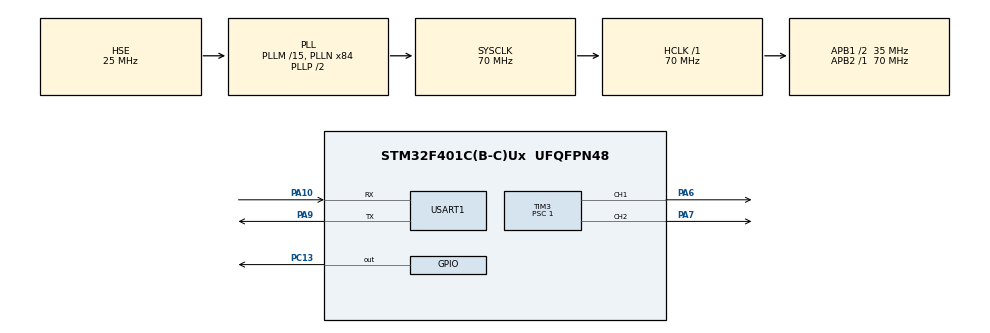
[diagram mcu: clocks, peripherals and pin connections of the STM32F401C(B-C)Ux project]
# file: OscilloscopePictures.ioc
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Mcu.Family=STM32F4
Mcu.Name=STM32F401C(B-C)Ux
Mcu.Package=UFQFPN48
NVIC.PriorityGroup=NVIC_PRIORITYGROUP_4
NVIC.RCC_IRQn=true\:0\:0\:false\:false\:true\:true\:false\:true
NVIC.TIM3_IRQn=true\:0\:0\:false\:false\:true\:true\:true\:true
PA10.Mode=Asynchronous
PA10.Signal=USART1_RX
PA13.Mode=Serial_Wire
PA13.Signal=SYS_JTMS-SWDIO
PA14.Mode=Serial_Wire
PA14.Signal=SYS_JTCK-SWCLK
PA6.Signal=S_TIM3_CH1
PA7.Signal=S_TIM3_CH2
PA9.Mode=Asynchronous
PA9.Signal=USART1_TX
PC13-ANTI_TAMP.Signal=GPIO_Output
PC14-OSC32_IN.Mode=LSE-External-Oscillator
PC14-OSC32_IN.Signal=RCC_OSC32_IN
PC15-OSC32_OUT.Mode=LSE-External-Oscillator
PC15-OSC32_OUT.Signal=RCC_OSC32_OUT
PH0\ -\ OSC_IN.Mode=HSE-External-Oscillator
PH0\ -\ OSC_IN.Signal=RCC_OSC_IN
PH1\ -\ OSC_OUT.Mode=HSE-External-Oscillator
PH1\ -\ OSC_OUT.Signal=RCC_OSC_OUT
ProjectManager.HeapSize=0x200
ProjectManager.StackSize=0x400
ProjectManager.TargetToolchain=STM32CubeIDE
RCC.48MHZClocksFreq_Value=35000000
RCC.AHBFreq_Value=70000000
RCC.APB1CLKDivider=RCC_HCLK_DIV2
RCC.APB1Freq_Value=35000000
RCC.APB1TimFreq_Value=70000000
RCC.APB2Freq_Value=70000000
RCC.APB2TimFreq_Value=70000000
RCC.CortexFreq_Value=70000000
RCC.HCLKFreq_Value=70000000
RCC.HSE_VALUE=25000000
RCC.HSI_VALUE=16000000
RCC.PLLM=15
RCC.PLLN=84
RCC.PLLSourceVirtual=RCC_PLLSOURCE_HSE
RCC.SYSCLKFreq_VALUE=70000000
RCC.SYSCLKSource=RCC_SYSCLKSOURCE_PLLCLK
RCC.VCOOutputFreq_Value=140000000
SH.S_TIM3_CH1.0=TIM3_CH1,PWM Generation1 CH1
SH.S_TIM3_CH2.0=TIM3_CH2,PWM Generation2 CH2
TIM3.Channel-PWM\ Generation1\ CH1=TIM_CHANNEL_1
TIM3.Channel-PWM\ Generation2\ CH2=TIM_CHANNEL_2
TIM3.OCFastMode_PWM-PWM\ Generation1\ CH1=TIM_OCFAST_ENABLE
TIM3.OCFastMode_PWM-PWM\ Generation2\ CH2=TIM_OCFAST_ENABLE
TIM3.OCMode_PWM-PWM\ Generation2\ CH2=TIM_OCMODE_PWM1
TIM3.OCPolarity_2=TIM_OCPOLARITY_HIGH
TIM3.Period=255
TIM3.Prescaler=1
TIM3.Pulse-PWM\ Generation1\ CH1=499
USART1.VirtualMode=VM_ASYNC
board=custom

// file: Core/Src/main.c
/* USER CODE BEGIN Header */
/**
  ******************************************************************************
  * @file           : main.c
  * @brief          : Main program body
  ******************************************************************************
  * @attention
  *
  * Copyright (c) 2026 STMicroelectronics.
  * All rights reserved.
  *
  * This software is licensed under terms that can be found in the LICENSE file
  * in the root directory of this software component.
  * If no LICENSE file comes with this software, it is provided AS-IS.
  *
  ******************************************************************************
  */
/* USER CODE END Header */
#include "main.h"
#include "tim.h"
#include "usart.h"
#include "gpio.h"

/* USER CODE BEGIN Includes */

#include <stdio.h>

/* USER CODE END Includes */

void SystemClock_Config(void);

/* USER CODE BEGIN 0 */

#define PWM_MAX 255
#define STEP_COUNT 8

// Must be bigger than biggest point coordinate
#define MAX_COORD_VALUE 50

struct Vec2i16{
	int16_t x;
	int16_t y;
};

/* Array contain points coordinate
 * x=0 - is left, y=0 - is down */
struct Vec2i16 rawFig[] = {
		{13,8},{14,9},{15,9},{16,10},{16,11},{17,12},{17,14},{14,17},{10,19},{5,19},{3,18},{0,15},{0,16},{1,18},{3,20},{5,21},
		{13,21},{15,22},{16,22},{17,22},{16,22},{16,23},{17,25},{19,27},{19,28},{18,29},{18,34},{19,37},{21,39},{22,39},{23,37},
		{23,35},{24,34},{24,33},{25,34},{26,35},{26,37},{26,35},{25,34},{24,33},{24,32},{23,31},{23,30},{25,32},{24,33},{25,32},
		{26,32},{27,33},{29,33},{31,34},{35,34},{32,33.5},{31,33},{29,32},{27,32},{25,30},{24,30},{25,31},{33,31},{35,30},{40,25},
		{41,23},{42,21},{44,21},{43,20},{45,24},{49,29},{45,24},{43,20},{44,21},{46,19},{45,19},{49,23},{57,27},{49,23},{45,19},
		{46,19},{46,14},{43,8.5},{41,6},{41,7},{42,8},{42,10},{43,11},{43,14},{44,15},{44,18},{43,19},{41,19},{41,20},{39,24},
		{37,26},{36,26},{36,24},{37,22},{38,21},{39,21},{40,20},{40,19},{38,21},{40,19},{40,18},{41,18},{42,17},{42,16},{41,15},
		{39,15},{38,16},{39,17},{39,16},{40,16},{41,17},{40,18},{39,17},{40,18},{39,18},{38,17},{37,17},{36,16},{36,19},{34,23},
		{32,25},{31,25},{30,24},{30,22},{31,20},{33,18},{33,19},{34,19},{35,18},{35,17},{36,16},{35,15},{33,17},{33,18},{33,17},
		{35,15},{32,15},{31,16},{33,14},{36,14},{30,13},{21,9},{30,13},{36,14},{33,14},{33,13},{34,12},{35,12},{36,11},{37,12},
		{31,8},{24,0},{31,8},{37,12},{36,11},{39,11},{40,12},{41,13},{42,13},{43,14},{42,13},{41,13},{40,12},{39,11},{36,11},
		{35,12},{34,12},{33,13},{33,11},{33,10},{35,8},{36,9},{39,9},{40,8},{40,6},{39,5},{38,5},{35,8},{33,10},{33,11},{31,9},
		{29,9},{27,9},{29,9},{29,8},{33,4},{34,4},{35,3},{37,3},{38,4},{37,4},{36,5},{37,4},{38,4},{40,4},{41,5},{41,6},{41,5},
		{40,4},{38,4},{37,3},{35,3},{34,3},{33,2},{25,2},{24,3},{23,3},{21,4},{17,8},{16,10},{17,8},{21,4},{23,3},{21,1},{18,0},
		{10,0},{6,2},{3,5},{0,11},{0,15}
};

struct Vec2i16 interpolation(struct Vec2i16* c1, struct Vec2i16* c2, int8_t step)
{
	struct Vec2i16 res;
	res.x = (c1->x + (c2->x - c1->x) * step / STEP_COUNT) * PWM_MAX / MAX_COORD_VALUE;	// Transform to PWM duty cycle
	res.y = (c1->y + (c2->y - c1->y) * step / STEP_COUNT) * PWM_MAX / MAX_COORD_VALUE;
	return res;
}

void drawFig() {
	static int16_t step = 0;
	uint16_t points_count = sizeof(rawFig) / sizeof(struct Vec2i16);

	uint16_t curent_i = step / STEP_COUNT;
	uint16_t next_i = ((curent_i + 1) < points_count) ? (curent_i+1) : 0;

	// Have some interpolation between to points
	struct Vec2i16 pwmPower = interpolation(&rawFig[curent_i], &rawFig[next_i], step - curent_i*STEP_COUNT);

	// Set PWM
	__HAL_TIM_SET_COMPARE(&htim3, TIM_CHANNEL_1, pwmPower.x);
	__HAL_TIM_SET_COMPARE(&htim3, TIM_CHANNEL_2, pwmPower.y);

	step++;
	// Reset step if it end of figure
	if(step / STEP_COUNT == points_count)
		step = 0;
}

/* USER CODE END 0 */

int main(void)
{

  /* MCU Configuration--------------------------------------------------------*/

  /* Reset of all peripherals, Initializes the Flash interface and the Systick. */
  HAL_Init();

  /* Configure the system clock */
  SystemClock_Config();

  /* Initialize all configured peripherals */
  MX_GPIO_Init();
  MX_USART1_UART_Init();
  MX_TIM3_Init();

  /* Infinite loop */
  /* USER CODE BEGIN WHILE */
  HAL_TIM_PWM_Start(&htim3, TIM_CHANNEL_1);
  HAL_TIM_PWM_Start(&htim3, TIM_CHANNEL_2);

  while (1)
  {
	drawFig();
	HAL_Delay(3);
    /* USER CODE END WHILE */

  }
}

void SystemClock_Config(void)
{
  RCC_OscInitTypeDef RCC_OscInitStruct = {0};
  RCC_ClkInitTypeDef RCC_ClkInitStruct = {0};

  /** Configure the main internal regulator output voltage
  */
  __HAL_RCC_PWR_CLK_ENABLE();
  __HAL_PWR_VOLTAGESCALING_CONFIG(PWR_REGULATOR_VOLTAGE_SCALE2);

  /** Initializes the RCC Oscillators according to the specified parameters
  * in the RCC_OscInitTypeDef structure.
  */
  RCC_OscInitStruct.OscillatorType = RCC_OSCILLATORTYPE_HSE;
  RCC_OscInitStruct.HSEState = RCC_HSE_ON;
  RCC_OscInitStruct.PLL.PLLState = RCC_PLL_ON;
  RCC_OscInitStruct.PLL.PLLSource = RCC_PLLSOURCE_HSE;
  RCC_OscInitStruct.PLL.PLLM = 15;
  RCC_OscInitStruct.PLL.PLLN = 84;
  RCC_OscInitStruct.PLL.PLLP = RCC_PLLP_DIV2;
  RCC_OscInitStruct.PLL.PLLQ = 4;
  if (HAL_RCC_OscConfig(&RCC_OscInitStruct) != HAL_OK)
  {
    Error_Handler();
  }

  /** Initializes the CPU, AHB and APB buses clocks
  */
  RCC_ClkInitStruct.ClockType = RCC_CLOCKTYPE_HCLK|RCC_CLOCKTYPE_SYSCLK
                              |RCC_CLOCKTYPE_PCLK1|RCC_CLOCKTYPE_PCLK2;
  RCC_ClkInitStruct.SYSCLKSource = RCC_SYSCLKSOURCE_PLLCLK;
  RCC_ClkInitStruct.AHBCLKDivider = RCC_SYSCLK_DIV1;
  RCC_ClkInitStruct.APB1CLKDivider = RCC_HCLK_DIV2;
  RCC_ClkInitStruct.APB2CLKDivider = RCC_HCLK_DIV1;

  if (HAL_RCC_ClockConfig(&RCC_ClkInitStruct, FLASH_LATENCY_2) != HAL_OK)
  {
    Error_Handler();
  }
}

void Error_Handler(void)
{
  /* USER CODE BEGIN Error_Handler_Debug */
  /* User can add his own implementation to report the HAL error return state */
  __disable_irq();
  while (1)
  { }
  /* USER CODE END Error_Handler_Debug */
}
